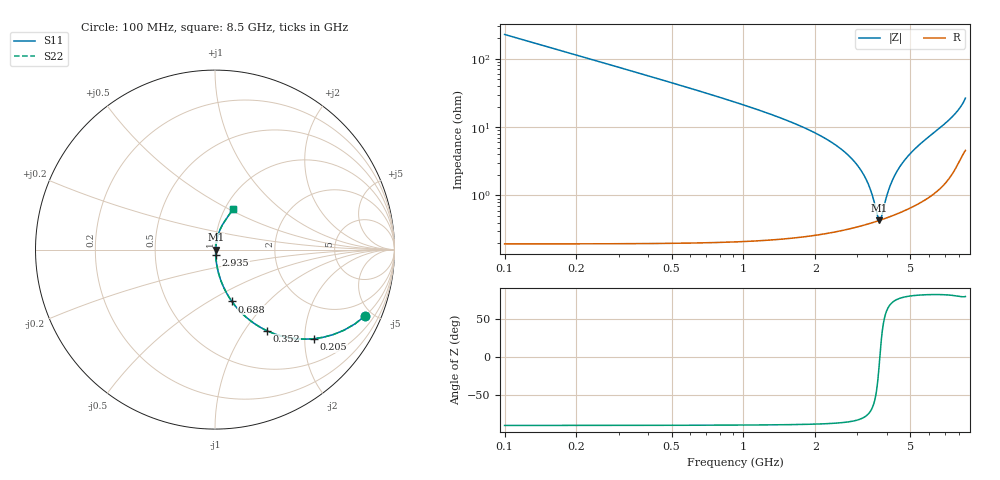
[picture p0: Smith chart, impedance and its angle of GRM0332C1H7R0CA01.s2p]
!Murata Part Number: GRM0332C1H7R0CA01
!These Parameters are Measured in Series Mode Connection
!Data Generated on Mar 30, 2021
!  o--ll--o
!Port1  Port2
!  o------o
!Operation Temp=25[degC], DC Bias Voltage=0[V]
!Freq. Start=100[MHz] Stop=9[GHz] 401[Steps]
# Hz S RI R 50
!Freq.(Hz) S11(Real) S11(Imag) S21(Real) S21(Imag) S12(Real) S12(Imag) S22(Real) S22(Imag)
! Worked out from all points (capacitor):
!   401 points, 100 MHz to 8.5 GHz, reference 50 ohm
!   read as one part in series: C = 7 pF near 142 MHz
!   lowest |Z| = 434 mohm at 3.712 GHz (marker M1)
!   series resonance near 3.725 GHz, so ESL is about 260 pH
!   S11 on the Smith chart (normalised r, x): 100 MHz: 1.00, -4.54; 205 MHz: 1.00, -2.21; 352 MHz: 1.00, -1.28; 688 MHz: 1.00, -0.64; 2.935 GHz: 1.01, -0.06; 8.5 GHz: 1.09, +0.52
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1e8  0.8375 -0.3685  0.1625 0.3685  0.1625 0.3685  0.8375 -0.3685
2.05e8  0.5501 -0.4966  0.4499 0.4966  0.4499 0.4966  0.5501 -0.4966
3.52e8  0.2914 -0.4529  0.7086 0.4529  0.7086 0.4529  0.2914 -0.4529
4.99e8  0.1681 -0.3718  0.8319 0.3718  0.8319 0.3718  0.1681 -0.3718
6.88e8  0.0942 -0.289  0.9058 0.289  0.9058 0.289  0.0942 -0.289
1.045e9  0.0408 -0.1925  0.9592 0.1925  0.9592 0.1925  0.0408 -0.1925
1.507e9  0.0181 -0.1245  0.9819 0.1245  0.9819 0.1245  0.0181 -0.1245
2.41e9  0.006 -0.0554  0.994 0.0554  0.994 0.0554  0.006 -0.0554
2.914e9  0.00432 -0.0309  0.9957 0.0309  0.9957 0.0309  0.00432 -0.0309
2.935e9  0.00429 -0.03  0.9957 0.03  0.9957 0.03  0.00429 -0.03
3.334e9  0.00402 -0.014  0.996 0.014  0.996 0.014  0.00402 -0.014
3.481e9  0.00407 -0.00857  0.9959 0.00857  0.9959 0.00857  0.00407 -0.00857
3.649e9  0.00422 -0.00261  0.9958 0.00261  0.9958 0.00261  0.00422 -0.00261
3.712e9  0.00429 -0.000437  0.9957 0.000437  0.9957 0.000437  0.00429 -0.000437
3.775e9  0.00438 0.00171  0.9956 -0.00171  0.9956 -0.00171  0.00438 0.00171
4.048e9  0.00489 0.0107  0.9951 -0.0107  0.9951 -0.0107  0.00489 0.0107
4.3e9  0.00553 0.0187  0.9945 -0.0187  0.9945 -0.0187  0.00553 0.0187
4.867e9  0.00754 0.036  0.9925 -0.036  0.9925 -0.036  0.00754 0.036
5.707e9  0.0122 0.0616  0.9878 -0.0616  0.9878 -0.0616  0.0122 0.0616
7.114e9  0.0291 0.1133  0.9709 -0.1133  0.9709 -0.1133  0.0291 0.1133
7.975e9  0.0582 0.1643  0.9418 -0.1643  0.9418 -0.1643  0.0582 0.1643
8.5e9  0.1001 0.2254  0.8999 -0.2254  0.8999 -0.2254  0.1001 0.2254
